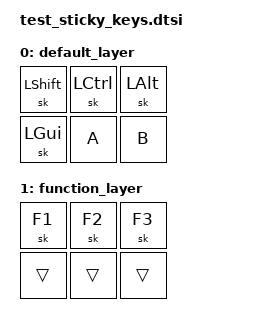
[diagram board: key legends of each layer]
#include <behaviors.dtsi>
#include <dt-bindings/zmk/keys.h>

/ {
    behaviors {
        sk: sticky_key {
            compatible = "zmk,behavior-sticky-key";
            #binding-cells = <1>;
            bindings = <&kp>;
            release-after-ms = <1000>;
            quick-release;
            ignore-modifiers;
        };
    };

    keymap {
        compatible = "zmk,keymap";

        default_layer {
            bindings = <
                &sk LSHIFT  &sk LCTRL   &sk LALT
                &sk LGUI    &kp A       &kp B
            >;
        };

        function_layer {
            bindings = <
                &sk F1      &sk F2      &sk F3
                &trans      &trans      &trans
            >;
        };
    };
};
